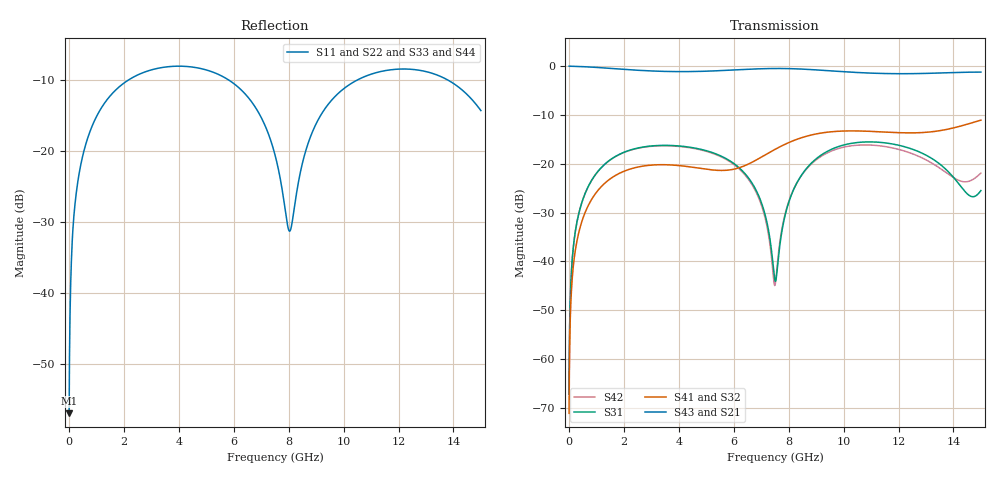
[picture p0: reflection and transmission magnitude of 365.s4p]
! Created with skrf 1.8.0 (http://scikit-rf.org).
# GHz S RI R 50.0
!freq ReS11 ImS11 ReS12 ImS12 ReS13 ImS13
! ReS14 ImS14
! ReS21 ImS21 ReS22 ImS22 ReS23 ImS23
! ReS24 ImS24
! ReS31 ImS31 ReS32 ImS32 ReS33 ImS33
! ReS34 ImS34
! ReS41 ImS41 ReS42 ImS42 ReS43 ImS43
! ReS44 ImS44
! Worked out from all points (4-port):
!   2499 points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, 5 MHz to 15 GHz, reference 50 ohm
!   strongest paths, dB at 5 MHz, 3.476 GHz, 7.19 GHz, 11.1 GHz, 15 GHz:
!     S43: 0.0, -1.1, -0.5, -1.5, -1.2
!     S21: 0.0, -1.1, -0.5, -1.5, -1.2
!     S41: -71.1, -20.2, -18.0, -13.4, -11.1
!     S32: -71.1, -20.2, -18.1, -13.4, -11.1
!     S31: -67.2, -16.2, -31.5, -15.5, -25.5
!     S42: -67.2, -16.3, -32.3, -16.2, -21.9
!   lowest |S11| = -57.0 dB at 5 MHz (marker M1), VSWR 1.00, Z = 50.1 + j0.0856 ohm
!   |S11| at or under -10 dB: start of sweep to 2.172 GHz; 5.81 GHz to 10.51 GHz (4.697 GHz wide, 57.6 % of centre); 13.79 GHz to end of sweep
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0.005  0.00112 0.000854  0.9989 -0.00219  5.46e-05 0.000434  -5.32e-05 -0.000273
       0.9989 -0.00219  0.00112 0.000854  -5.32e-05 -0.000273  5.46e-05 0.000434
       5.46e-05 0.000434  -5.32e-05 -0.000273  0.00112 0.000854  0.9989 -0.00219
       -5.32e-05 -0.000273  5.46e-05 0.000434  0.9989 -0.00219  0.00112 0.000854
0.4126719  0.0192 0.0743  0.9735 -0.1795  0.00885 0.0344  -0.00731 -0.0215
           0.9735 -0.1795  0.0192 0.0743  -0.0073 -0.0215  0.0087 0.0344
           0.00885 0.0344  -0.0073 -0.0215  0.0192 0.0743  0.9735 -0.1795
           -0.00731 -0.0215  0.0087 0.0344  0.9735 -0.1795  0.0192 0.0743
2.025844  0.2348 0.191  0.6215 -0.686  0.1134 0.0673  -0.0825 -0.0174
          0.6215 -0.686  0.2356 0.1905  -0.0824 -0.0175  0.1113 0.0697
          0.1134 0.0673  -0.0824 -0.0175  0.2348 0.1909  0.6216 -0.686
          -0.0825 -0.0174  0.1113 0.0697  0.6216 -0.686  0.2355 0.1905
6.121301  0.2159 -0.1869  -0.6105 -0.6835  0.052 -0.0793  -0.042 0.0793
          -0.6105 -0.6835  0.2135 -0.1909  -0.0429 0.0781  0.0566 -0.0732
          0.052 -0.0793  -0.0429 0.0781  0.2146 -0.187  -0.6107 -0.6837
          -0.042 0.0793  0.0566 -0.0732  -0.6107 -0.6837  0.2132 -0.1895
7.490621  0.0446 -0.0845  -0.9071 -0.2666  -0.00625 -0.00202  -0.0341 0.1355
          -0.9071 -0.2666  0.0404 -0.0859  -0.0363 0.1349  -0.00563 -0.000653
          -0.00625 -0.00202  -0.0363 0.1349  0.0429 -0.0834  -0.9072 -0.2665
          -0.0341 0.1355  -0.00563 -0.000653  -0.9072 -0.2665  0.0412 -0.0842
8.109629  0.0279 0.0109  -0.9409 -0.0234  0.0101 0.0477  0.00246 0.1697
          -0.9409 -0.0234  0.024 0.0115  -0.000218 0.1697  0.00658 0.0489
          0.0101 0.0477  -0.000218 0.1697  0.0264 0.0126  -0.9409 -0.0233
          0.00246 0.1697  0.00658 0.0489  -0.9409 -0.0233  0.0254 0.0129
15  0.1423 -0.1291  0.7304 0.4697  -0.0476 0.0236  0.1511 -0.2352
    0.7304 0.4697  0.1274 -0.1268  0.1565 -0.2315  -0.0784 0.017
    -0.0476 0.0236  0.1565 -0.2315  0.1467 -0.1243  0.7296 0.4714
    0.1511 -0.2352  -0.0784 0.017  0.7296 0.4714  0.1225 -0.1289
